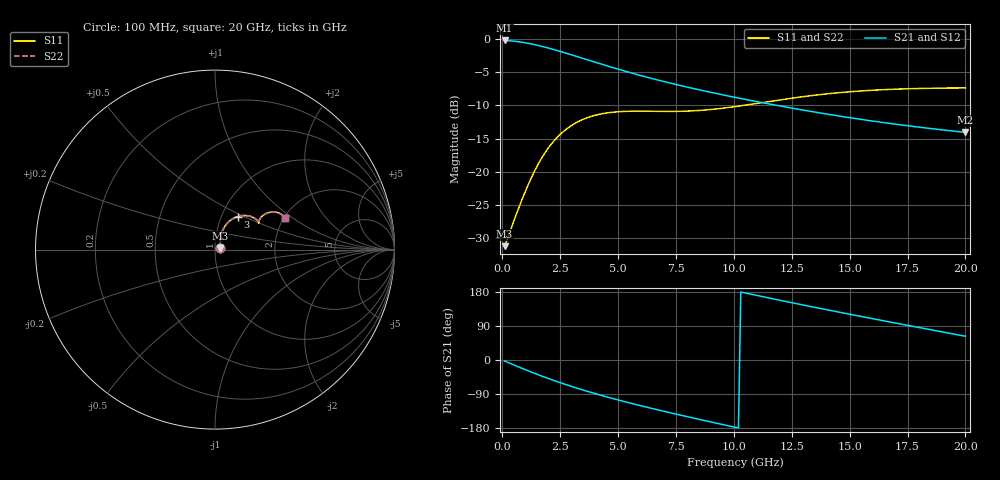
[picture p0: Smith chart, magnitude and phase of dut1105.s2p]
! Touchstone file exported from HFSS 2024.1.0
!  File:  C:/UserFiles/LocalFiles/RDL_TSV_Batchsim/temp_RDL_TSV_1105_1780101424.aedt
!  Generated:  08:49:19 AM May 30, 2026
!  Design:  RDL_TSV
!  Project:  temp_RDL_TSV_1105_1780101424
!  Setup:  Setup1
!  Solution:  Sweep
! Variables:
!  dtsv = 10.47um
!  hbump = 3um
!  htsv = 95.05um
!  ldown = 533.48um
!  lrdl = 646.43um
!  p = 40
!  p1 = 57.04um
!  rhole = 10um
!  subl = 4186.16um
!  t = 450um
!  tdown = 3.83um
!  trdl = 3.03um
!  viad = 10um
!  wdown = 19.6um
!  wrdl = 15.79um
!  xbump = 18um
# GHz S MA R 50.000000
! Terminal data exported
! Port[1] = TM1_1_T1
! Port[2] = TM1_4_T1
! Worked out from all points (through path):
!   200 points, 100 MHz to 20 GHz, reference 50 ohm
!   highest |S21| = -0.24 dB at 100 MHz (marker M1); lowest = -14.1 dB at 20 GHz (marker M2)
!   group delay of S21, straight-line fit = 38.9 ps
!   lowest |S11| = -31.2 dB at 100 MHz (marker M3), VSWR 1.06, Z = 52.7 + j0.716 ohm
!   |S11| at or under -10 dB: start of sweep to 10.43 GHz
!   |S22| runs from -31.2 to -7.4 dB; largest |S21 - S12| = 8.8e-15
!   S11 on the Smith chart (normalised r, x): 100 MHz: 1.05, +0.01; 3 GHz: 1.19, +0.46; 20 GHz: 2.02, +0.88
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0.1  0.02759 14.2  0.9728 -2.7  0.9728 -2.7  0.02759 14.2
! Gamma 0 0 0 0
! Port Impedance 50 0 50 0
0.4  0.03828 41.7  0.965 -10.5  0.965 -10.5  0.03828 41.7
0.7  0.0529 56.0  0.9517 -18.2  0.9517 -18.2  0.05289 56.1
1.1  0.07859 65.9  0.9271 -28.1  0.9271 -28.1  0.0786 65.9
1.5  0.1101 68.5  0.8962 -37.7  0.8962 -37.7  0.1101 68.5
1.8  0.1353 67.6  0.8703 -44.6  0.8703 -44.6  0.1354 67.6
2.2  0.1683 64.3  0.8335 -53.4  0.8335 -53.4  0.1684 64.4
2.6  0.1982 60.0  0.7956 -61.9  0.7956 -61.9  0.1984 60.1
3  0.2237 55.4  0.7577 -70.0  0.7577 -70.0  0.224 55.4
3.5  0.2485 49.8  0.7118 -79.5  0.7118 -79.5  0.2489 49.8
4.2  0.271 43.0  0.6521 -92.1  0.6521 -92.1  0.2714 43.0
5  0.283 37.1  0.5919 -105.4  0.5919 -105.4  0.2836 37.1
5.9  0.2861 33.0  0.5344 -119.4  0.5344 -119.4  0.2867 33.0
6.8  0.285 31.3  0.4862 -132.8  0.4862 -132.8  0.2856 31.3
8.3  0.2879 32.2  0.4215 -153.9  0.4215 -153.9  0.2885 32.2
10.1  0.3102 34.9  0.3618 -178.0  0.3618 -178.0  0.3107 34.9
11.7  0.3417 35.4  0.3196 161.3  0.3196 161.3  0.3422 35.4
13.4  0.3752 33.8  0.2833 140.1  0.2833 140.1  0.3757 33.8
15  0.3999 31.3  0.2555 120.8  0.2555 120.8  0.4004 31.3
16.7  0.4166 28.5  0.2316 100.7  0.2316 100.7  0.4172 28.5
18.3  0.4245 26.2  0.2135 82.2  0.2135 82.2  0.4252 26.2
20  0.4277 24.6  0.198 62.7  0.198 62.7  0.4284 24.7
